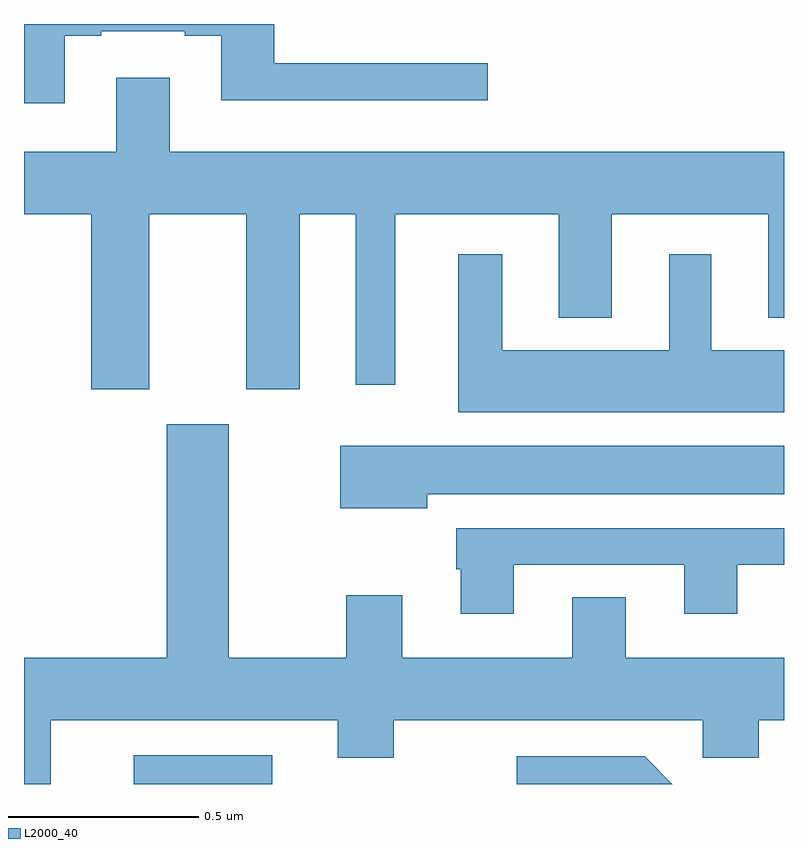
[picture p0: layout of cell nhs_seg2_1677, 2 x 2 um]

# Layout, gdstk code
import gdstk
lib = gdstk.Library(unit=1e-6, precision=1e-09)
def R(c, l, rs):  # rectangles x0, y0, x1, y1
    for r in rs: c.add(gdstk.rectangle(r[:2], r[2:], *l))
def P(c, l, *ps):  # polygons
    for p in ps: c.add(gdstk.Polygon(p, *l))
L2000_40 = (2000, 40)

nhs_seg2_1677 = lib.new_cell('nhs_seg2_1677')
R(nhs_seg2_1677, L2000_40, [(131.289,648.8,131.653,648.876)])
P(nhs_seg2_1677, L2000_40, [(131.107,650.769),(131.203,650.769),(131.203,650.781),(131.423,650.781),(131.423,650.769),(131.519,650.769),(131.519,650.6),(132.22,650.6),(132.22,650.697),(131.659,650.697),(131.659,650.8),(131,650.8),(131,650.592),(131.107,650.592)],
  [(131.329,650.3),(131.585,650.3),(131.585,649.839),(131.725,649.839),(131.725,650.3),(131.873,650.3),(131.873,649.851),(131.977,649.851),(131.977,650.3),(132.407,650.3),(132.407,650.027),(132.547,650.027),(132.547,650.3),(132.959,650.3),(132.959,650.027),(133,650.027),(133,650.464),(131.383,650.464),(131.383,650.659),(131.243,650.659),(131.243,650.464),(131,650.464),(131,650.3),(131.177,650.3),(131.177,649.839),(131.329,649.839)],
  [(133,649.942),(132.808,649.942),(132.808,650.194),(132.698,650.194),(132.698,649.942),(132.259,649.942),(132.259,650.194),(132.143,650.194),(132.143,649.778),(133,649.778)],
  [(131,648.8),(131.071,648.8),(131.071,648.968),(131.825,648.968),(131.825,648.869),(131.973,648.869),(131.973,648.968),(132.786,648.968),(132.786,648.869),(132.933,648.869),(132.933,648.968),(133,648.968),(133,649.132),(132.583,649.132),(132.583,649.292),(132.443,649.292),(132.443,649.132),(131.995,649.132),(131.995,649.297),(131.848,649.297),(131.848,649.132),(131.539,649.132),(131.539,649.747),(131.375,649.747),(131.375,649.132),(131,649.132)],
  [(132.061,649.562),(133,649.562),(133,649.69),(131.832,649.69),(131.832,649.526),(132.061,649.526)],
  [(132.289,649.377),(132.737,649.377),(132.737,649.248),(132.877,649.248),(132.877,649.377),(133,649.377),(133,649.473),(132.137,649.473),(132.137,649.365),(132.149,649.365),(132.149,649.248),(132.289,649.248)],
  [(132.633,648.873),(132.297,648.873),(132.297,648.8),(132.706,648.8)])

lib.write_gds('nhs_seg2_1677.gds')
